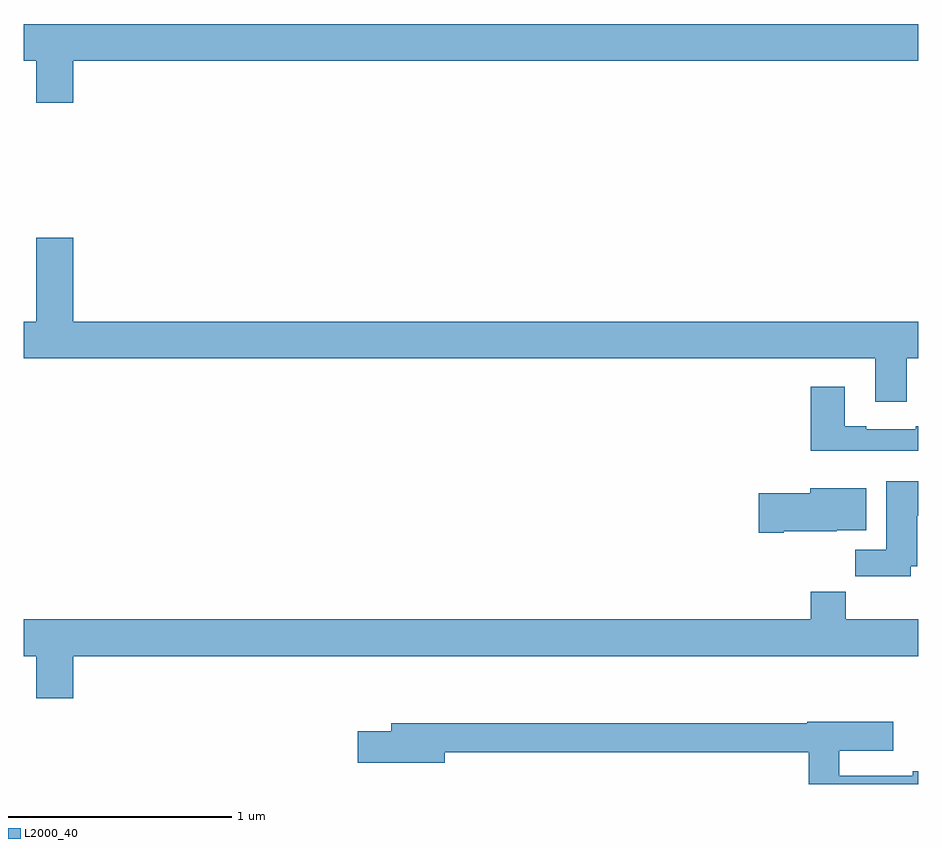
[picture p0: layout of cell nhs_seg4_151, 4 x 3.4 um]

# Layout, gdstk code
import gdstk
lib = gdstk.Library(unit=1e-6, precision=1e-09)
def P(c, l, *ps):  # polygons
    for p in ps: c.add(gdstk.Polygon(p, *l))
L2000_40 = (2000, 40)

nhs_seg4_151 = lib.new_cell('nhs_seg4_151')
P(nhs_seg4_151, L2000_40, [(117.22,814.136),(121,814.136),(121,814.3),(117,814.3),(117,814.136),(117.056,814.136),(117.056,813.948),(117.22,813.948)],
  [(120.949,812.804),(121,812.804),(121,812.968),(117.22,812.968),(117.22,813.343),(117.056,813.343),(117.056,812.968),(117,812.968),(117,812.804),(120.809,812.804),(120.809,812.61),(120.949,812.61)],
  [(121,812.5),(120.989,812.5),(120.989,812.487),(120.769,812.487),(120.769,812.5),(120.673,812.5),(120.673,812.677),(120.521,812.677),(120.521,812.39),(121,812.39)],
  [(120.967,811.874),(120.997,811.874),(120.997,812.1),(121,812.1),(121,812.254),(120.857,812.254),(120.857,811.948),(120.718,811.948),(120.718,811.83),(120.967,811.83)],
  [(120.4,812.03),(120.636,812.03),(120.636,812.036),(120.769,812.036),(120.769,812.224),(120.518,812.224),(120.518,812.201),(120.288,812.201),(120.288,812.023),(120.4,812.023)],
  [(117.22,811.472),(121,811.472),(121,811.636),(120.677,811.636),(120.677,811.76),(120.521,811.76),(120.521,811.636),(117,811.636),(117,811.472),(117.056,811.472),(117.056,811.284),(117.22,811.284)],
  [(121,810.956),(120.976,810.956),(120.976,810.936),(120.647,810.936),(120.647,811.049),(120.889,811.049),(120.889,811.179),(120.504,811.179),(120.504,811.171),(118.643,811.171),(118.643,811.137),(118.494,811.137),(118.494,810.995),(118.882,810.995),(118.882,811.042),(120.511,811.042),(120.511,810.9),(121,810.9)])

lib.write_gds('nhs_seg4_151.gds')
